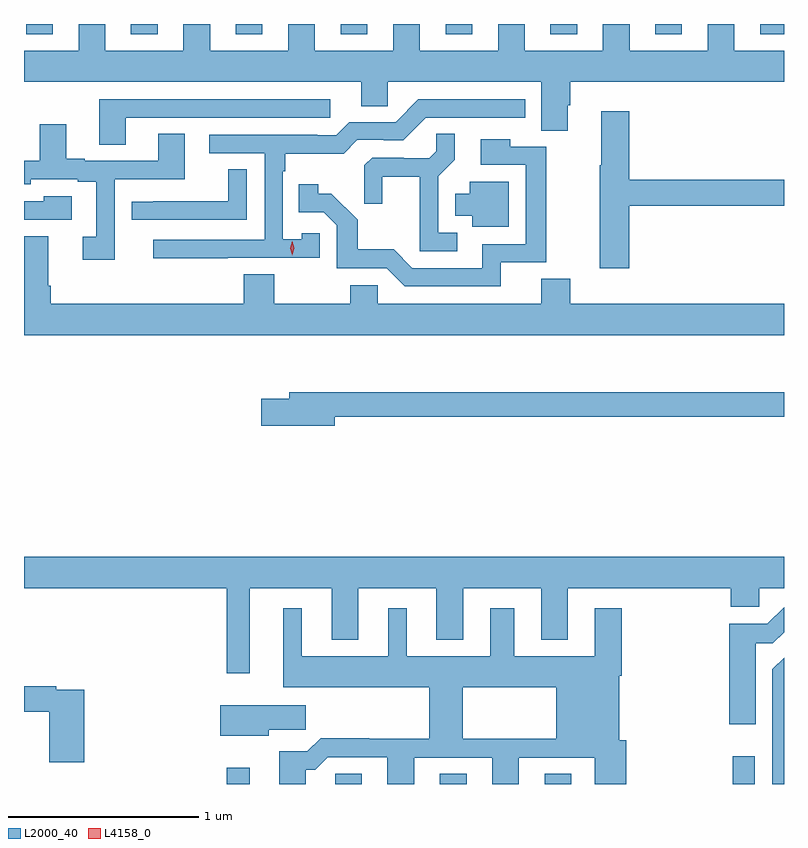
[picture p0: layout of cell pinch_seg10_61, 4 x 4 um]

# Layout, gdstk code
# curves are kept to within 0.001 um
import gdstk
lib = gdstk.Library(unit=1e-6, precision=1e-09)
def R(c, l, rs):  # rectangles x0, y0, x1, y1
    for r in rs: c.add(gdstk.rectangle(r[:2], r[2:], *l))
def A(c, l, x, y, w, h, nx, ny, dx, dy):  # array of equal rectangles
    R(c, l, [(x+i*dx, y+j*dy, x+i*dx+w, y+j*dy+h) for i in range(nx) for j in range(ny)])
def P(c, l, *ps):  # polygons
    for p in ps: c.add(gdstk.Polygon(p, *l))
L2000_40 = (2000, 40)
L4158_0 = (4158, 0)

pinch_seg10_61 = lib.new_cell('pinch_seg10_61')
A(pinch_seg10_61, L2000_40, 836.981, 1308.558, 0.14, 0.055, 7, 1, 0.552, 0)
R(pinch_seg10_61, L2000_40, [(838.038,1304.613,838.159,1304.698), (838.608,1304.613,838.747,1304.666), (839.159,1304.613,839.299,1304.666), (839.711,1304.613,839.851,1304.666), (840.7,1304.613,840.816,1304.758), (840.845,1308.558,840.97,1308.613)])
P(pinch_seg10_61, L2000_40, [(839.833,1308.186),(839.846,1308.186),(839.846,1308.308),(840.97,1308.308),(840.97,1308.472),(840.709,1308.472),(840.709,1308.613),(840.569,1308.613),(840.569,1308.472),(840.157,1308.472),(840.157,1308.613),(840.017,1308.613),(840.017,1308.472),(839.605,1308.472),(839.605,1308.613),(839.465,1308.613),(839.465,1308.472),(839.053,1308.472),(839.053,1308.613),(838.913,1308.613),(838.913,1308.472),(838.501,1308.472),(838.501,1308.613),(838.361,1308.613),(838.361,1308.472),(837.949,1308.472),(837.949,1308.613),(837.809,1308.613),(837.809,1308.472),(837.397,1308.472),(837.397,1308.613),(837.257,1308.613),(837.257,1308.472),(836.97,1308.472),(836.97,1308.308),(838.745,1308.308),(838.745,1308.181),(838.884,1308.181),(838.884,1308.308),(839.693,1308.308),(839.693,1308.052),(839.833,1308.052)],
  [(837.505,1308.12),(838.582,1308.12),(838.582,1308.216),(837.365,1308.216),(837.365,1307.977),(837.505,1307.977)],
  [(838.043,1307.382),(838.527,1307.382),(838.527,1307.511),(838.431,1307.511),(838.431,1307.479),(838.332,1307.479),(838.332,1307.837),(838.345,1307.837),(838.345,1307.93),(838.652,1307.93),(838.725,1308.003),(838.864,1308.003),(838.864,1308),(838.965,1308),(839.085,1308.12),(839.608,1308.12),(839.608,1308.216),(839.046,1308.216),(838.926,1308.096),(838.683,1308.096),(838.614,1308.027),(838.514,1308.027),(838.514,1308.03),(837.945,1308.03),(837.945,1307.934),(838.236,1307.934),(838.236,1307.478),(837.651,1307.478),(837.651,1307.38),(838.043,1307.38)],
  [(840.155,1307.656),(840.97,1307.656),(840.97,1307.792),(840.155,1307.792),(840.155,1308.154),(840.008,1308.154),(840.008,1307.869),(840.001,1307.869),(840.001,1307.328),(840.155,1307.328)],
  [(837.447,1307.796),(837.817,1307.796),(837.817,1308.035),(837.677,1308.035),(837.677,1307.892),(837.289,1307.892),(837.289,1307.905),(837.193,1307.905),(837.193,1308.085),(837.053,1308.085),(837.053,1307.892),(836.97,1307.892),(836.97,1307.769),(837.006,1307.769),(837.006,1307.796),(837.254,1307.796),(837.254,1307.784),(837.35,1307.784),(837.35,1307.493),(837.279,1307.493),(837.279,1307.373),(837.447,1307.373)],
  [(839.251,1307.514),(839.151,1307.514),(839.151,1307.813),(839.237,1307.899),(839.237,1308.035),(839.139,1308.035),(839.139,1307.944),(839.102,1307.907),(838.968,1307.907),(838.968,1307.91),(838.803,1307.91),(838.762,1307.869),(838.762,1307.667),(838.856,1307.667),(838.856,1307.81),(839.054,1307.81),(839.054,1307.418),(839.251,1307.418)],
  [(839.48,1307.358),(839.719,1307.358),(839.719,1307.967),(839.529,1307.967),(839.529,1308.007),(839.373,1308.007),(839.373,1307.871),(839.61,1307.871),(839.61,1307.454),(839.381,1307.454),(839.381,1307.328),(839.013,1307.328),(838.915,1307.427),(838.726,1307.427),(838.726,1307.582),(838.588,1307.72),(838.518,1307.72),(838.518,1307.77),(838.417,1307.77),(838.417,1307.622),(838.548,1307.622),(838.617,1307.553),(838.617,1307.328),(838.878,1307.328),(838.974,1307.232),(839.48,1307.232)],
  [(838.143,1307.849),(838.045,1307.849),(838.045,1307.679),(837.649,1307.679),(837.649,1307.678),(837.537,1307.678),(837.537,1307.583),(838.143,1307.583)],
  [(839.521,1307.782),(839.315,1307.782),(839.315,1307.719),(839.24,1307.719),(839.24,1307.603),(839.33,1307.603),(839.33,1307.546),(839.521,1307.546)],
  [(837.22,1307.707),(837.075,1307.707),(837.075,1307.679),(836.97,1307.679),(836.97,1307.583),(837.22,1307.583)],
  [(840.97,1307.14),(839.846,1307.14),(839.846,1307.273),(839.693,1307.273),(839.693,1307.14),(838.833,1307.14),(838.833,1307.238),(838.687,1307.238),(838.687,1307.14),(838.287,1307.14),(838.287,1307.297),(838.127,1307.297),(838.127,1307.14),(837.11,1307.14),(837.11,1307.236),(837.097,1307.236),(837.097,1307.497),(836.97,1307.497),(836.97,1306.976),(840.97,1306.976)],
  [(838.606,1306.546),(840.97,1306.546),(840.97,1306.675),(838.367,1306.675),(838.367,1306.641),(838.218,1306.641),(838.218,1306.499),(838.606,1306.499)],
  [(838.159,1305.644),(838.589,1305.644),(838.589,1305.371),(838.729,1305.371),(838.729,1305.644),(839.141,1305.644),(839.141,1305.371),(839.281,1305.371),(839.281,1305.644),(839.693,1305.644),(839.693,1305.371),(839.833,1305.371),(839.833,1305.644),(840.689,1305.644),(840.689,1305.546),(840.84,1305.546),(840.84,1305.644),(840.97,1305.644),(840.97,1305.808),(836.97,1305.808),(836.97,1305.644),(838.038,1305.644),(838.038,1305.195),(838.159,1305.195)],
  [(840.82,1305.354),(840.912,1305.354),(840.97,1305.412),(840.97,1305.544),(840.882,1305.456),(840.683,1305.456),(840.683,1304.928),(840.82,1304.928)],
  [(838.787,1304.855),(838.532,1304.855),(838.462,1304.785),(838.313,1304.785),(838.313,1304.613),(838.453,1304.613),(838.453,1304.687),(838.502,1304.687),(838.569,1304.754),(838.883,1304.754),(838.883,1304.613),(839.023,1304.613),(839.023,1304.751),(839.435,1304.751),(839.435,1304.613),(839.575,1304.613),(839.575,1304.751),(839.975,1304.751),(839.975,1304.613),(840.14,1304.613),(840.14,1304.844),(840.103,1304.844),(840.103,1305.182),(840.116,1305.182),(840.116,1305.538),(839.975,1305.538),(839.975,1305.286),(839.551,1305.286),(839.551,1305.538),(839.423,1305.538),(839.423,1305.286),(838.984,1305.286),(838.984,1305.538),(838.886,1305.538),(838.886,1305.286),(838.432,1305.286),(838.432,1305.538),(838.334,1305.538),(838.334,1305.122),(839.102,1305.122),(839.102,1304.852),(839.28,1304.852),(839.28,1305.122),(839.771,1305.122),(839.771,1304.852),(838.787,1304.852)],
  [(840.97,1305.278),(840.908,1305.216),(840.908,1304.613),(840.97,1304.613)],
  [(837.287,1305.108),(837.14,1305.108),(837.14,1305.128),(836.97,1305.128),(836.97,1304.992),(837.104,1304.992),(837.104,1304.727),(837.287,1304.727)],
  [(838.258,1304.899),(838.453,1304.899),(838.453,1305.028),(838.004,1305.028),(838.004,1304.867),(838.258,1304.867)])
P(pinch_seg10_61, L4158_0, [(838.382,1307.397),(838.382,1307.398),(838.372,1307.434),(838.383,1307.469),(838.383,1307.469),(838.383,1307.469),(838.392,1307.433),(838.382,1307.398)])

lib.write_gds('pinch_seg10_61.gds')
